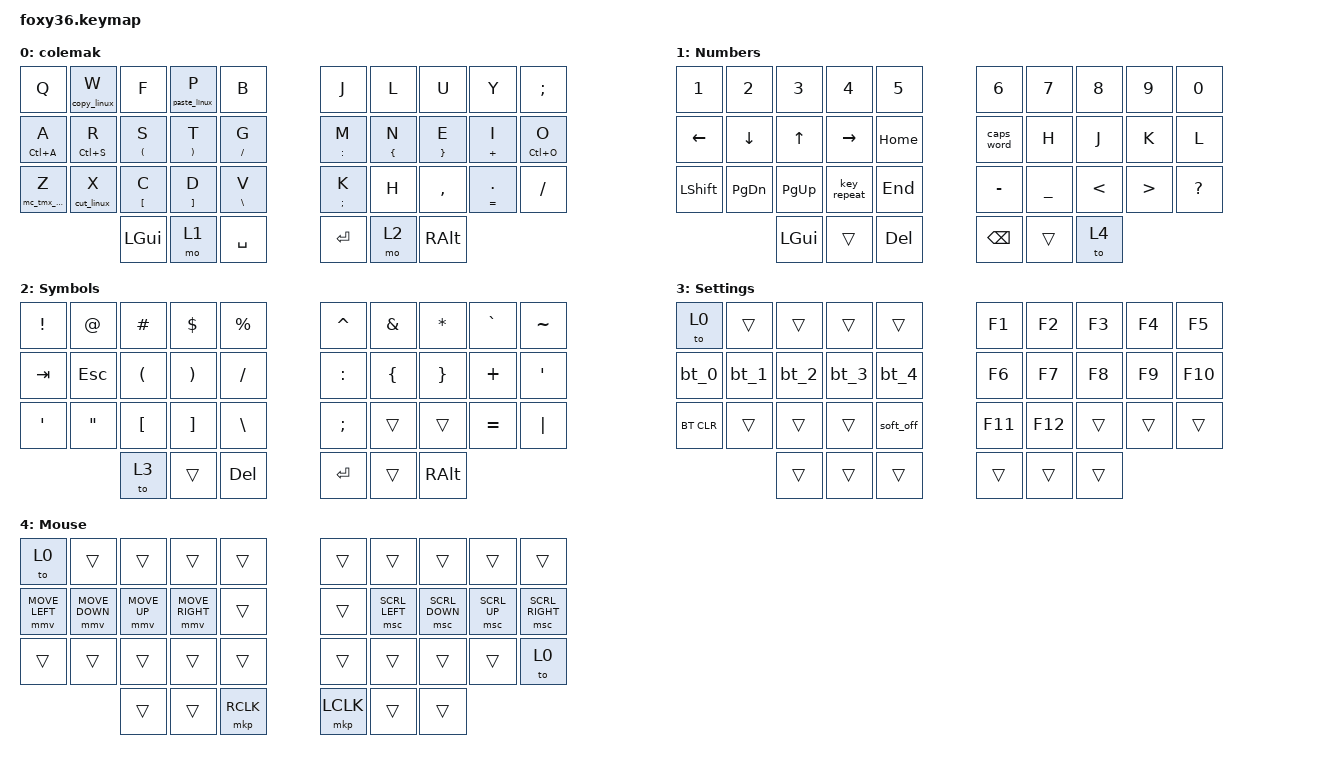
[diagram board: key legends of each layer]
#include <behaviors.dtsi>
#include <dt-bindings/zmk/bt.h>
#include <dt-bindings/zmk/keys.h>
#include <dt-bindings/zmk/pointing.h>

&mt {
    tapping-term-ms = <300>;
    flavor = "tap-preferred";
};

/ {
    combos {
        compatible = "zmk,combos";

        Shift {
            bindings = <&skq LEFT_SHIFT>;
            key-positions = <13 12>;
            timeout-ms = <75>;
            require-prior-idle-ms = <350>;
        };

        Ctrl {
            bindings = <&sk LCTRL>;
            key-positions = <12 11>;
            timeout-ms = <75>;
            require-prior-idle-ms = <350>;
        };

        Alt {
            bindings = <&sk LEFT_ALT>;
            key-positions = <11 10>;
            timeout-ms = <75>;
            require-prior-idle-ms = <350>;
        };

        Mod {
            bindings = <&sk LEFT_GUI>;
            key-positions = <22 23>;
            timeout-ms = <75>;
            require-prior-idle-ms = <350>;
        };

        r_Alt {
            bindings = <&sk LEFT_ALT>;
            key-positions = <16 17>;
            timeout-ms = <75>;
            require-prior-idle-ms = <350>;
        };

        r_Ctrl {
            bindings = <&sk LCTRL>;
            key-positions = <17 18>;
            timeout-ms = <75>;
            require-prior-idle-ms = <350>;
        };

        r_Shift {
            bindings = <&sk LEFT_SHIFT>;
            key-positions = <18 17>;
            timeout-ms = <75>;
            require-prior-idle-ms = <350>;
        };

        r_Mod {
            bindings = <&sk LEFT_GUI>;
            key-positions = <26 27>;
            timeout-ms = <75>;
            require-prior-idle-ms = <350>;
        };
    };

    behaviors {
        skq: skq {
            compatible = "zmk,behavior-sticky-key";
            label = "SKQ";
            bindings = <&kp>;
            #binding-cells = <1>;
            release-after-ms = <1000>;
            quick-release;
        };

        ht_copy: ht_copy {
            compatible = "zmk,behavior-hold-tap";
            label = "HT_COPY";
            bindings = <&copy_linux>, <&kp>;

            #binding-cells = <2>;
            tapping-term-ms = <200>;
            require-prior-idle-ms = <500>;
            flavor = "tap-preferred";
        };

        ht_paste: ht_paste {
            compatible = "zmk,behavior-hold-tap";
            label = "HT_PASTE";
            bindings = <&paste_linux>, <&kp>;

            #binding-cells = <2>;
            tapping-term-ms = <200>;
            require-prior-idle-ms = <500>;
            flavor = "tap-preferred";
        };

        ht_cut: ht_cut {
            compatible = "zmk,behavior-hold-tap";
            label = "HT_CUT";
            bindings = <&cut_linux>, <&kp>;

            #binding-cells = <2>;
            tapping-term-ms = <200>;
            require-prior-idle-ms = <500>;
            flavor = "tap-preferred";
        };

        ht_tmx_scrl: ht_tmx_scrl {
            compatible = "zmk,behavior-hold-tap";
            label = "HT_TMX_SCRL";
            bindings = <&mc_tmx_scrl>, <&kp>;

            #binding-cells = <2>;
            tapping-term-ms = <300>;
            require-prior-idle-ms = <200>;
            flavor = "tap-preferred";
        };
    };

    macros {
        bt_0: bt_0 {
            compatible = "zmk,behavior-macro";
            #binding-cells = <0>;
            bindings = <&bt BT_SEL 0 &to 0>;
            label = "BT_0";
        };

        bt_1: bt_1 {
            compatible = "zmk,behavior-macro";
            #binding-cells = <0>;
            bindings = <&bt BT_SEL 1 &to 0>;
            label = "BT_1";
        };

        bt_2: bt_2 {
            compatible = "zmk,behavior-macro";
            #binding-cells = <0>;
            bindings = <&bt BT_SEL 2 &to 0>;
            label = "BT_2";
        };

        bt_3: bt_3 {
            compatible = "zmk,behavior-macro";
            #binding-cells = <0>;
            bindings = <&bt BT_SEL 3 &to 0>;
            label = "BT_3";
        };

        bt_4: bt_4 {
            compatible = "zmk,behavior-macro";
            #binding-cells = <0>;
            bindings = <&bt BT_SEL 4 &to 0>;
            label = "BT_4";
        };

        mc_tmx_scrl: mc_tmx_scrl {
            compatible = "zmk,behavior-macro";
            #binding-cells = <0>;
            bindings = <&sk LC(S) &kp LEFT_BRACKET>;
            label = "MC_TMX_SCRL";
        };

        copy_linux: copy_linux {
            compatible = "zmk,behavior-macro";
            #binding-cells = <0>;
            bindings = <&kp LC(C)>;
            label = "COPY_LINUX";
        };

        paste_linux: paste_linux {
            compatible = "zmk,behavior-macro";
            #binding-cells = <0>;
            bindings = <&kp LC(V)>;
            label = "PASTE_LINUX";
        };

        cut_linux: cut_linux {
            compatible = "zmk,behavior-macro";
            #binding-cells = <0>;
            bindings = <&kp LC(X)>;
            label = "CUT_LINUX";
        };
    };

    keymap {
        compatible = "zmk,keymap";

        colemak {
            bindings = <
&kp Q             &ht_copy 0 W  &kp F                   &ht_paste 0 P            &kp B                &kp J            &kp L             &kp U              &kp Y             &kp SEMICOLON
&mt LC(A) A       &mt LC(S) R   &mt LEFT_PARENTHESIS S  &mt RIGHT_PARENTHESIS T  &mt SLASH G          &mt COLON M      &mt LEFT_BRACE N  &mt RIGHT_BRACE E  &mt PLUS I        &mt LC(O) O
&ht_tmx_scrl 0 Z  &ht_cut 0 X   &mt LEFT_BRACKET C      &mt RIGHT_BRACKET D      &mt BACKSLASH V      &mt SEMICOLON K  &kp H             &kp COMMA          &mt EQUAL PERIOD  &kp FSLH
                                &kp LEFT_GUI            &mo 1                    &kp SPACE            &kp RET          &mo 2             &kp RIGHT_ALT
            >;
        };

        Numbers {
            bindings = <
&kp N1     &kp N2         &kp N3        &kp N4       &kp N5          &kp N6         &kp N7          &kp N8         &kp N9            &kp N0
&kp LEFT   &kp DOWN       &kp UP_ARROW  &kp RIGHT    &kp HOME        &caps_word     &kp H           &kp J          &kp K             &kp L
&kp LSHFT  &kp PAGE_DOWN  &kp PG_UP     &key_repeat  &kp END         &kp MINUS      &kp UNDERSCORE  &kp LESS_THAN  &kp GREATER_THAN  &kp QUESTION
                          &kp LEFT_GUI  &trans       &kp DELETE      &kp BACKSPACE  &trans          &to 4
            >;
        };

        Symbols {
            bindings = <
&kp EXCLAMATION  &kp AT_SIGN        &kp HASH              &kp DOLLAR             &kp PERCENT        &kp CARET      &kp AMPERSAND   &kp ASTERISK     &kp GRAVE  &kp TILDE
&kp TAB          &kp ESCAPE         &kp LEFT_PARENTHESIS  &kp RIGHT_PARENTHESIS  &kp SLASH          &kp COLON      &kp LEFT_BRACE  &kp RIGHT_BRACE  &kp PLUS   &kp SQT
&kp SQT          &kp DOUBLE_QUOTES  &kp LEFT_BRACKET      &kp RIGHT_BRACKET      &kp BACKSLASH      &kp SEMICOLON  &trans          &trans           &kp EQUAL  &kp PIPE
                                    &to 3                 &trans                 &kp DELETE         &kp RETURN     &trans          &kp RIGHT_ALT
            >;
        };

        Settings {
            bindings = <
&to 0       &trans  &trans  &trans  &trans         &kp F1   &kp F2   &kp F3  &kp F4  &kp F5
&bt_0       &bt_1   &bt_2   &bt_3   &bt_4          &kp F6   &kp F7   &kp F8  &kp F9  &kp F10
&bt BT_CLR  &trans  &trans  &trans  &soft_off      &kp F11  &kp F12  &trans  &trans  &trans
                    &trans  &trans  &trans         &trans   &trans   &trans
            >;
        };

        Mouse {
            bindings = <
&to 0           &trans          &trans        &trans           &trans         &trans     &trans          &trans          &trans        &trans
&mmv MOVE_LEFT  &mmv MOVE_DOWN  &mmv MOVE_UP  &mmv MOVE_RIGHT  &trans         &trans     &msc SCRL_LEFT  &msc SCRL_DOWN  &msc SCRL_UP  &msc SCRL_RIGHT
&trans          &trans          &trans        &trans           &trans         &trans     &trans          &trans          &trans        &to 0
                                &trans        &trans           &mkp RCLK      &mkp LCLK  &trans          &trans
            >;
        };
    };
};
